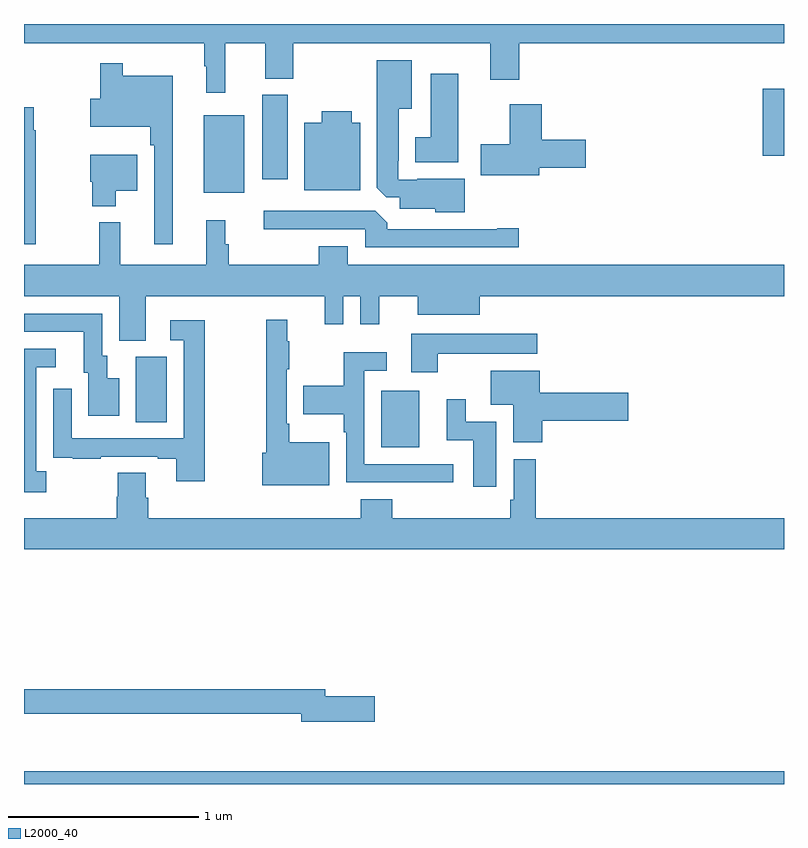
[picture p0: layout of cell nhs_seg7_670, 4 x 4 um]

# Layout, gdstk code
import gdstk
lib = gdstk.Library(unit=1e-6, precision=1e-09)
def R(c, l, rs):  # rectangles x0, y0, x1, y1
    for r in rs: c.add(gdstk.rectangle(r[:2], r[2:], *l))
def P(c, l, *ps):  # polygons
    for p in ps: c.add(gdstk.Polygon(p, *l))
L2000_40 = (2000, 40)

nhs_seg7_670 = lib.new_cell('nhs_seg7_670')
R(nhs_seg7_670, L2000_40, [(161,1046,165,1046.068), (162.881,1047.773,163.081,1048.069), (161.588,1047.904,161.752,1048.248), (161.945,1049.111,162.16,1049.521), (162.254,1049.184,162.388,1049.628), (164.888,1049.306,165,1049.659)])
P(nhs_seg7_670, L2000_40, [(162.059,1049.9),(162.269,1049.9),(162.269,1049.713),(162.417,1049.713),(162.417,1049.9),(163.454,1049.9),(163.454,1049.706),(163.607,1049.706),(163.607,1049.9),(165,1049.9),(165,1050),(161,1050),(161,1049.9),(161.949,1049.9),(161.949,1049.777),(161.96,1049.777),(161.96,1049.637),(162.059,1049.637)],
  [(163.321,1049.185),(163.069,1049.185),(163.069,1049.181),(162.969,1049.181),(162.969,1049.281),(162.973,1049.281),(162.973,1049.555),(163.042,1049.555),(163.042,1049.809),(162.857,1049.809),(162.857,1049.137),(162.906,1049.088),(162.977,1049.088),(162.977,1049.027),(163.164,1049.027),(163.164,1049.009),(163.321,1049.009)],
  [(161.782,1049.728),(161.521,1049.728),(161.521,1049.794),(161.4,1049.794),(161.4,1049.607),(161.348,1049.607),(161.348,1049.459),(161.665,1049.459),(161.665,1049.363),(161.685,1049.363),(161.685,1048.842),(161.782,1048.842)],
  [(163.285,1049.737),(163.142,1049.737),(163.142,1049.404),(163.058,1049.404),(163.058,1049.273),(163.285,1049.273)],
  [(163.711,1049.243),(163.957,1049.243),(163.957,1049.39),(163.724,1049.39),(163.724,1049.578),(163.556,1049.578),(163.556,1049.367),(163.404,1049.367),(163.404,1049.204),(163.711,1049.204)],
  [(161.062,1049.442),(161.05,1049.442),(161.05,1049.563),(161,1049.563),(161,1048.842),(161.062,1048.842)],
  [(162.769,1049.479),(162.724,1049.479),(162.724,1049.542),(162.566,1049.542),(162.566,1049.479),(162.476,1049.479),(162.476,1049.126),(162.769,1049.126)],
  [(161.482,1049.123),(161.596,1049.123),(161.596,1049.311),(161.348,1049.311),(161.348,1049.169),(161.36,1049.169),(161.36,1049.042),(161.482,1049.042)],
  [(163.603,1048.925),(163.49,1048.925),(163.49,1048.92),(162.911,1048.92),(162.911,1048.954),(162.849,1049.016),(162.261,1049.016),(162.261,1048.92),(162.795,1048.92),(162.795,1048.824),(163.603,1048.824)],
  [(161.641,1048.568),(162.584,1048.568),(162.584,1048.419),(162.681,1048.419),(162.681,1048.568),(162.771,1048.568),(162.771,1048.419),(162.869,1048.419),(162.869,1048.568),(163.073,1048.568),(163.073,1048.469),(163.399,1048.469),(163.399,1048.568),(165,1048.568),(165,1048.732),(162.703,1048.732),(162.703,1048.831),(162.551,1048.831),(162.551,1048.732),(162.077,1048.732),(162.077,1048.841),(162.059,1048.841),(162.059,1048.966),(161.96,1048.966),(161.96,1048.732),(161.507,1048.732),(161.507,1048.957),(161.397,1048.957),(161.397,1048.732),(161,1048.732),(161,1048.568),(161.501,1048.568),(161.501,1048.333),(161.641,1048.333)],
  [(161.5,1048.135),(161.437,1048.135),(161.437,1048.254),(161.412,1048.254),(161.412,1048.476),(161,1048.476),(161,1048.38),(161.315,1048.38),(161.315,1048.164),(161.339,1048.164),(161.339,1047.939),(161.5,1047.939)],
  [(162.607,1047.799),(162.397,1047.799),(162.397,1047.895),(162.384,1047.895),(162.384,1048.183),(162.397,1048.183),(162.397,1048.331),(162.386,1048.331),(162.386,1048.444),(162.276,1048.444),(162.276,1047.743),(162.254,1047.743),(162.254,1047.572),(162.607,1047.572)],
  [(161.95,1048.441),(161.769,1048.441),(161.769,1048.335),(161.841,1048.335),(161.841,1047.819),(161.25,1047.819),(161.25,1048.081),(161.154,1048.081),(161.154,1047.826),(161.155,1047.826),(161.155,1047.717),(161.257,1047.717),(161.257,1047.711),(161.405,1047.711),(161.405,1047.723),(161.705,1047.723),(161.705,1047.711),(161.801,1047.711),(161.801,1047.594),(161.95,1047.594)],
  [(163.177,1048.265),(163.702,1048.265),(163.702,1048.369),(163.037,1048.369),(163.037,1048.167),(163.177,1048.167)],
  [(161.116,1047.646),(161.064,1047.646),(161.064,1048.194),(161.167,1048.194),(161.167,1048.29),(161,1048.29),(161,1047.536),(161.116,1047.536)],
  [(163.258,1047.684),(162.792,1047.684),(162.792,1048.176),(162.91,1048.176),(162.91,1048.273),(162.684,1048.273),(162.684,1048.095),(162.469,1048.095),(162.469,1047.947),(162.684,1047.947),(162.684,1047.851),(162.696,1047.851),(162.696,1047.588),(163.021,1047.588),(163.021,1047.587),(163.258,1047.587)],
  [(163.727,1047.911),(164.179,1047.911),(164.179,1048.058),(163.714,1048.058),(163.714,1048.174),(163.457,1048.174),(163.457,1047.995),(163.574,1047.995),(163.574,1047.798),(163.727,1047.798)],
  [(163.486,1047.906),(163.324,1047.906),(163.324,1048.024),(163.226,1048.024),(163.226,1047.81),(163.364,1047.81),(163.364,1047.564),(163.486,1047.564)],
  [(165,1047.4),(163.694,1047.4),(163.694,1047.709),(163.578,1047.709),(163.578,1047.496),(163.558,1047.496),(163.558,1047.4),(162.938,1047.4),(162.938,1047.499),(162.773,1047.499),(162.773,1047.4),(161.654,1047.4),(161.654,1047.506),(161.641,1047.506),(161.641,1047.638),(161.494,1047.638),(161.494,1047.513),(161.489,1047.513),(161.489,1047.4),(161,1047.4),(161,1047.236),(165,1047.236)],
  [(162.847,1046.462),(162.586,1046.462),(162.586,1046.498),(161,1046.498),(161,1046.37),(162.458,1046.37),(162.458,1046.327),(162.847,1046.327)])

lib.write_gds('nhs_seg7_670.gds')
